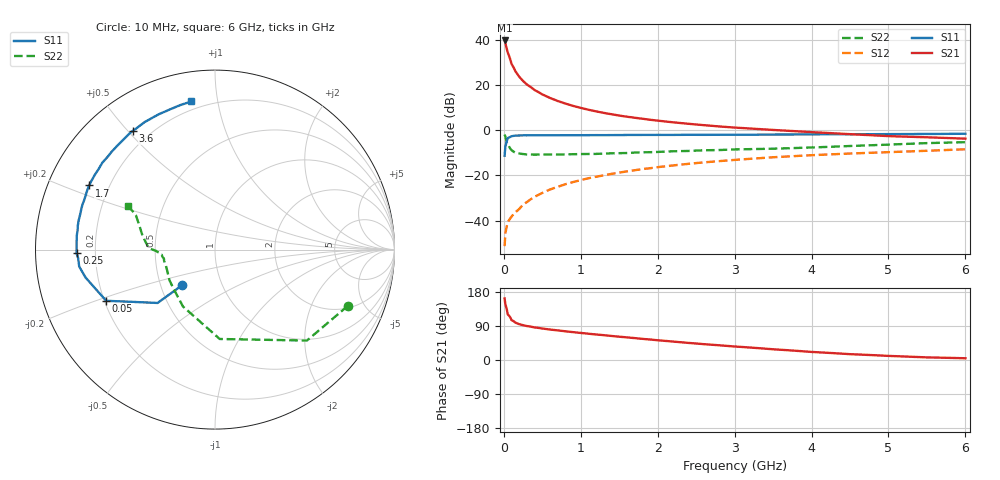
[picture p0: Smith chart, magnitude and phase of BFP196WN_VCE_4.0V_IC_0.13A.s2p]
! Infineon Technologies  Discrete & RF Semiconductors
! BFP196WN
! VCE =  4.0 V,  IC = 0.13 A
! Common Emitter S-Parameters:  Jan 2017
# GHz  S  MA  R  50
!  f  S11  S21  S12  S22
! GHz  MAG  ANG  MAG  ANG  MAG  ANG  MAG  ANG
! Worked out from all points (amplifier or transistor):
!   77 points, 10 MHz to 6 GHz, reference 50 ohm
!   highest |S21| = 39.8 dB at 10 MHz (marker M1)
!   |S21| within 3 dB of that: start of sweep to 32.94 MHz
!   unconditionally stable (mu >= 1): 357.6 MHz to 2.7 GHz
!   at 130 MHz: K = 0.79, MSG = 32.3 dB, |S12| = -37.1 dB
!   at 2.2 GHz: K = 1.02, MAG = 8.6 dB, |S12| = -15.6 dB
!   at 6 GHz: K = 0.92, MSG = 2.3 dB, |S12| = -8.4 dB
!   S11 on the Smith chart (normalised r, x): 10 MHz: 0.64, -0.28; 50 MHz: 0.21, -0.21; 250 MHz: 0.13, -0.01; 1.7 GHz: 0.13, +0.24; 3.6 GHz: 0.14, +0.51; 6 GHz: 0.15, +0.84
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0.01  0.2721 -132.8  97.61 162.5  0.0027 75.0  0.8034 -23.0
0.02  0.4368 -137.1  84.08 146.6  0.0053 72.6  0.7206 -44.7
0.05  0.67 -154.8  53.15 120.4  0.0091 50.6  0.4987 -87.0
0.1  0.7376 -167.8  29.54 105.2  0.0122 56.5  0.3636 -119.4
0.15  0.7626 -172.9  20.3 98.6  0.0152 62.0  0.3185 -136.2
0.2  0.7639 -176.4  15.34 94.6  0.018 65.2  0.3059 -145.9
0.25  0.7715 -178.5  12.34 91.8  0.0225 67.3  0.2968 -151.5
0.3  0.7712 179.6  10.31 89.6  0.0257 68.5  0.2908 -156.4
0.4  0.7723 176.5  7.775 85.9  0.0335 72.2  0.2881 -161.5
0.5  0.7741 174.2  6.224 83.1  0.0408 73.0  0.2896 -165.2
0.6  0.7731 172.0  5.201 80.4  0.0487 73.4  0.2904 -167.9
0.7  0.7758 170.2  4.452 78.2  0.0557 74.5  0.2888 -169.7
0.9  0.7763 166.2  3.465 73.5  0.0711 73.0  0.2946 -171.9
1.1  0.7788 162.8  2.848 69.4  0.0863 72.3  0.2978 -174.1
1.4  0.7808 157.7  2.265 63.4  0.1081 70.4  0.3084 -176.1
1.7  0.7867 153.0  1.893 57.8  0.1299 68.2  0.3199 -177.6
2.1  0.7884 146.9  1.565 50.4  0.1589 65.1  0.3363 -179.2
3.1  0.7951 132.0  1.119 34.3  0.2263 56.1  0.3788 176.2
3.6  0.8039 124.8  0.993 27.0  0.2574 51.5  0.3948 172.4
4.1  0.8116 117.7  0.89 20.2  0.2848 46.9  0.4209 166.8
5.1  0.8216 107.0  0.732 10.1  0.3317 38.8  0.4878 156.1
6  0.8357 99.1  0.651 4.6  0.3791 32.6  0.5434 153.6
